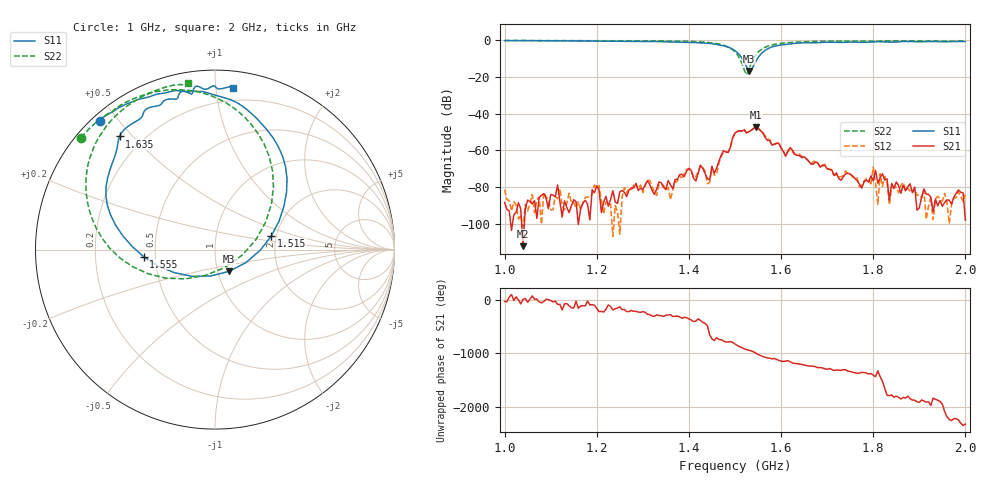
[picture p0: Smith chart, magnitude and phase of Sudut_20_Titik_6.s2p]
# Hz S RI R 50
! CMT, C1220, 16058040, 17.2.0/1
! Date: 14/08/2018 12:20:00
! Data: Format (Calibration Info)
! Freq  S11: Re/Im (F2)  S21: Re/Im (F2)  S12: Re/Im (F2)  S22: Re/Im (F2)
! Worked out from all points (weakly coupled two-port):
!   201 points, 1 GHz to 2 GHz, reference 50 ohm
!   highest |S21| = -47.25 dB at 1.545 GHz (marker M1); lowest = -112.0 dB at 1.04 GHz (marker M2)
!   lowest |S11| = -16.8 dB at 1.53 GHz (marker M3), VSWR 1.34, Z = 56.7 - j14 ohm
!   |S11| at or under -10 dB: 1.515 GHz to 1.549 GHz (33.56 MHz wide, 2.19 % of centre)
!   |S22| runs from -18.9 to -0.2 dB; largest |S21 - S12| = 0.00035
!   S11 on the Smith chart (normalised r, x): 1 GHz: 0.02, +0.45; 1.515 GHz: 1.88, +0.32; 1.555 GHz: 0.43, -0.04; 1.635 GHz: 0.12, +0.46; 2 GHz: 0.11, +1.11
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1e9  -0.6432 0.7161  3.38e-05 -1.88e-05  -8.55e-05 1.09e-05  -0.7481 0.624
1.04e9  -0.615 0.7428  2.46e-06 4.96e-07  -2.75e-06 -7.9e-06  -0.7201 0.6541
1.17e9  -0.4631 0.8231  -1.12e-05 -3.58e-05  2.89e-05 -2.19e-05  -0.6114 0.7486
1.335e9  -0.1941 0.8837  5.39e-05 0.000129  1.95e-05 0.000118  -0.3962 0.862
1.4e9  -0.0155 0.8655  0.000316 4.57e-05  0.000327 4.4e-06  -0.2225 0.891
1.415e9  0.0447 0.8482  0.000122 -8.38e-05  0.000174 -7.87e-05  -0.162 0.8887
1.425e9  0.089 0.8342  0.000372 -0.000141  0.000356 -0.000151  -0.1157 0.8825
1.44e9  0.1471 0.8031  -7.85e-05 -0.000154  -6.22e-05 -0.000108  -0.0367 0.8625
1.5e9  0.399 0.3237  -0.000703 -0.0029  -0.000672 -0.00274  0.3257 0.3496
1.515e9  0.3145 0.077  -0.00329 -0.000603  -0.00328 -0.00075  0.228 0.0551
1.53e9  0.0788 -0.1212  -0.00249 0.00204  -0.00259 0.00204  -0.053 -0.1436
1.545e9  -0.2266 -0.1284  0.000127 0.00434  -3.49e-05 0.00436  -0.3731 -0.1343
1.555e9  -0.3979 -0.0392  0.0025 0.00243  0.00239 0.00259  -0.5279 -0.0481
1.635e9  -0.5316 0.6307  -0.00027 -0.000696  -0.000246 -0.000725  -0.678 0.5637
1.67e9  -0.419 0.7275  -0.000393 -0.000161  -0.000458 -0.000202  -0.6177 0.6708
1.77e9  -0.2301 0.8385  3.77e-05 0.000116  2.57e-05 9.86e-05  -0.4622 0.819
1.795e9  -0.2029 0.8602  8.26e-05 0.000187  5.32e-05 0.0001  -0.4253 0.841
1.8e9  -0.1988 0.8699  0.000122 8.55e-05  0.000334 0.000117  -0.4184 0.8453
1.81e9  -0.184 0.8812  -5.79e-05 0.000115  2.01e-05 -2.8e-05  -0.4048 0.853
1.815e9  -0.1741 0.882  0.000182 1.46e-05  0.000177 0.00015  -0.3978 0.8565
1.835e9  -0.1338 0.8671  4.34e-05 9.71e-06  3.27e-05 7.19e-06  -0.3714 0.8696
2e9  0.0991 0.9029  -1.2e-05 -4.38e-06  -4.83e-05 -4.12e-05  -0.1488 0.9276
